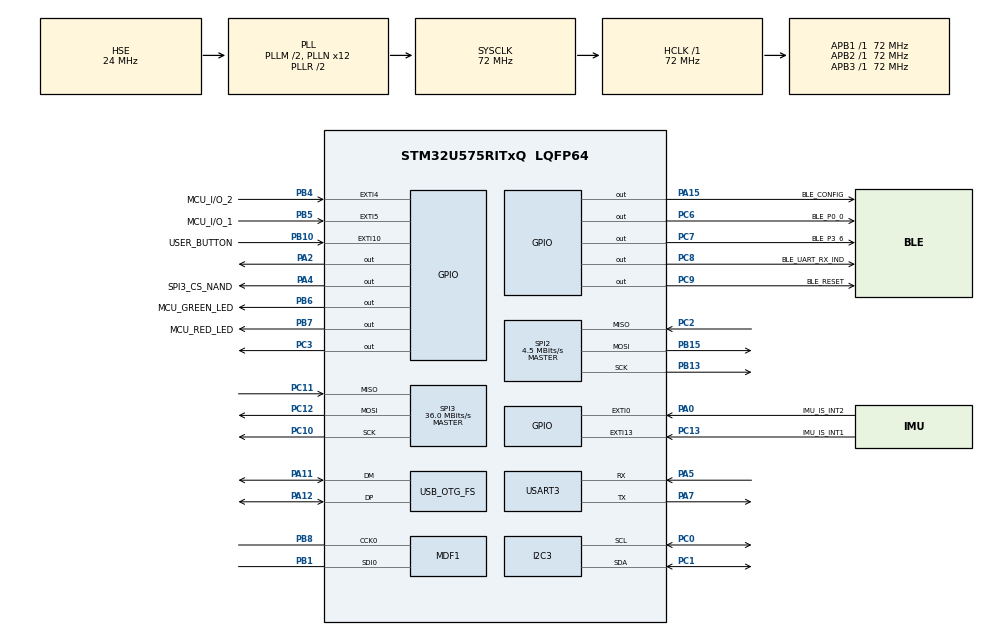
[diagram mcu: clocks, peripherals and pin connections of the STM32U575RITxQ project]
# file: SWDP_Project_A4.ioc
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CORTEX_M33_NS.userName=CORTEX_M33
GPDMA1.IPHANDLE_GPDMACH0-SIMPLEREQUEST_GPDMACH0=__NULL
GPDMA1.IPHANDLE_GPDMACH1-SIMPLEREQUEST_GPDMACH1=__NULL
GPDMA1.REQUEST_GPDMACH0=GPDMA1_REQUEST_I2C3_RX
GPDMA1.REQUEST_GPDMACH1=GPDMA1_REQUEST_I2C3_TX
I2C3.Timing=0x10808DD3
MDF1.MDF_COMPARAM_ActivationClockTrigger=ENABLE
MDF1.MDF_COMPARAM_ActivationOutputClock=ENABLE
MDF1.MDF_COMPARAM_Divider=5
MDF1.MDF_COMPARAM_Pins=MDF_OUTPUT_CLOCK_ALL
MDF1.MDF_DFLT0_AcquisitionMode=MDF_MODE_SYNC_CONT
MDF1.MDF_DFLT0_CIC_Mode=MDF_ONE_FILTER_SINC5
MDF1.MDF_DFLT0_Decimation=16
MDF1.MDF_DFLT0_DiscardSamples=255
MDF1.MDF_DFLT0_Gain=1
MDF1.MDF_DFLT0_HighPassFilterActivation=ENABLE
MDF1.MDF_DFLT0_ReshapeFilterActivation=ENABLE
MDF1.MDF_SITF0_Mode_Display=MDF_SITF_NORMAL_SPI_MODE
MDF1.MDF_SITF0_Threshold=31
Mcu.Family=STM32U5
Mcu.Name=STM32U575RITxQ
Mcu.Package=LQFP64
NVIC.EXTI0_IRQn=true\:0\:0\:false\:false\:true\:true\:true\:true
NVIC.EXTI10_IRQn=true\:0\:0\:false\:false\:true\:true\:true\:true
NVIC.EXTI13_IRQn=true\:0\:0\:false\:false\:true\:true\:true\:true
NVIC.EXTI4_IRQn=true\:0\:0\:false\:false\:true\:true\:true\:true
NVIC.EXTI5_IRQn=true\:0\:0\:false\:false\:true\:true\:true\:true
NVIC.GPDMA1_Channel0_IRQn=true\:0\:0\:false\:false\:true\:false\:true\:true
NVIC.GPDMA1_Channel1_IRQn=true\:0\:0\:false\:false\:true\:false\:true\:true
NVIC.I2C3_ER_IRQn=true\:0\:0\:false\:false\:true\:true\:true\:true
NVIC.I2C3_EV_IRQn=true\:0\:0\:false\:false\:true\:true\:true\:true
NVIC.MDF1_FLT0_IRQn=true\:0\:0\:false\:false\:true\:true\:true\:true
NVIC.OTG_FS_IRQn=true\:0\:0\:false\:false\:true\:true\:true\:true
NVIC.PriorityGroup=NVIC_PRIORITYGROUP_4
NVIC.SPI2_IRQn=true\:0\:0\:false\:false\:true\:true\:true\:true
NVIC.SPI3_IRQn=true\:0\:0\:false\:false\:true\:true\:true\:true
NVIC.TIM2_IRQn=true\:2\:0\:true\:false\:true\:true\:true\:true
NVIC.USART3_IRQn=true\:0\:0\:false\:false\:true\:true\:true\:true
PA0.GPIO_Label=IMU_IS_INT2
PA0.Signal=GPXTI0
PA11.GPIO_Speed=GPIO_SPEED_FREQ_VERY_HIGH
PA11.Mode=Device_Only
PA11.Signal=USB_OTG_FS_DM
PA12.GPIO_Speed=GPIO_SPEED_FREQ_VERY_HIGH
PA12.Mode=Device_Only
PA12.Signal=USB_OTG_FS_DP
PA13\ (JTMS/SWDIO).Mode=Trace_Asynchronous_SW
PA13\ (JTMS/SWDIO).Signal=DEBUG_JTMS-SWDIO
PA14\ (JTCK/SWCLK).Mode=Trace_Asynchronous_SW
PA14\ (JTCK/SWCLK).Signal=DEBUG_JTCK-SWCLK
PA15\ (JTDI).GPIO_Label=BLE_CONFIG
PA15\ (JTDI).PinState=GPIO_PIN_SET
PA15\ (JTDI).Signal=GPIO_Output
PA2.Signal=GPIO_Output
PA4.GPIO_Label=SPI3_CS_NAND
PA4.Signal=GPIO_Output
PA5.Mode=Asynchronous
PA5.Signal=USART3_RX
PA7.Mode=Asynchronous
PA7.Signal=USART3_TX
PA9.Signal=USB_OTG_FS_VBUS
PB1.GPIO_Speed=GPIO_SPEED_FREQ_VERY_HIGH
PB1.Mode=MOD_MDF_SITF0_CCK0
PB1.Signal=MDF1_SDI0
PB10.GPIO_Label=USER_BUTTON
PB10.GPIO_ModeDefaultEXTI=GPIO_MODE_IT_RISING_FALLING
PB10.GPIO_PuPd=GPIO_PULLDOWN
PB10.Signal=GPXTI10
PB13.Mode=Full_Duplex_Master
PB13.Signal=SPI2_SCK
PB15.Mode=Full_Duplex_Master
PB15.Signal=SPI2_MOSI
PB3\ (JTDO/TRACESWO).Mode=Trace_Asynchronous_SW
PB3\ (JTDO/TRACESWO).Signal=DEBUG_JTDO-SWO
PB4\ (NJTRST).GPIO_Label=MCU_I/O_2
PB4\ (NJTRST).Signal=GPXTI4
PB5.GPIO_Label=MCU_I/O_1
PB5.Signal=GPXTI5
PB6.GPIO_Label=MCU_GREEN_LED
PB6.Signal=GPIO_Output
PB7.GPIO_Label=MCU_RED_LED
PB7.Signal=GPIO_Output
PB8.GPIO_FM8=SYSCFG_FASTMODEPLUS_PB8
PB8.GPIO_Speed=GPIO_SPEED_FREQ_VERY_HIGH
PB8.Mode=MOD_MDF_CCK0
PB8.Signal=MDF1_CCK0
PC0.Mode=I2C
PC0.Signal=I2C3_SCL
PC1.Mode=I2C
PC1.Signal=I2C3_SDA
PC10.Mode=Full_Duplex_Master
PC10.Signal=SPI3_SCK
PC11.Mode=Full_Duplex_Master
PC11.Signal=SPI3_MISO
PC12.Mode=Full_Duplex_Master
PC12.Signal=SPI3_MOSI
PC13.GPIO_Label=IMU_IS_INT1
PC13.Signal=GPXTI13
PC14-OSC32_IN\ (PC14).Mode=LSE-External-Oscillator
PC14-OSC32_IN\ (PC14).Signal=RCC_OSC32_IN
PC15-OSC32_OUT\ (PC15).Mode=LSE-External-Oscillator
PC15-OSC32_OUT\ (PC15).Signal=RCC_OSC32_OUT
PC2.Mode=Full_Duplex_Master
PC2.Signal=SPI2_MISO
PC3.Signal=GPIO_Output
PC6.GPIO_Label=BLE_P0_0
PC6.Signal=GPIO_Output
PC7.GPIO_Label=BLE_P3_6
PC7.Signal=GPIO_Output
PC8.GPIO_Label=BLE_UART_RX_IND
PC8.Signal=GPIO_Output
PC9.GPIO_Label=BLE_RESET
PC9.Signal=GPIO_Output
PH0-OSC_IN\ (PH0).Mode=HSE-External-Oscillator
PH0-OSC_IN\ (PH0).Signal=RCC_OSC_IN
PH1-OSC_OUT\ (PH1).Mode=HSE-External-Oscillator
PH1-OSC_OUT\ (PH1).Signal=RCC_OSC_OUT
ProjectManager.HeapSize=0x400
ProjectManager.StackSize=0x800
ProjectManager.TargetToolchain=CMake
RCC.ADCFreq_Value=16000000
RCC.AHBFreq_Value=72000000
RCC.APB1Freq_Value=72000000
RCC.APB1TimFreq_Value=72000000
RCC.APB2Freq_Value=72000000
RCC.APB2TimFreq_Value=72000000
RCC.APB3Freq_Value=72000000
RCC.CK48CLockSelection=RCC_CLK48CLKSOURCE_PLL1
RCC.CortexFreq_Value=72000000
RCC.EPOD_VALUE=24000000
RCC.HCLKFreq_Value=72000000
RCC.HSE_VALUE=24000000
RCC.HSI48_VALUE=48000000
RCC.HSI_VALUE=16000000
RCC.LSIDIV_VALUE=32000
RCC.MSIClockRange=RCC_MSIRANGE_0
RCC.MSI_VALUE=48000000
RCC.MdfClockSelection=RCC_MDF1CLKSOURCE_PLL3
RCC.PLL1Q=3
RCC.PLL2FRACN=0
RCC.PLL3FRACN=0
RCC.PLL3M=3
RCC.PLL3N=48
RCC.PLL3Q=25
RCC.PLL3Source=RCC_PLLSOURCE_HSE
RCC.PLLFRACN=0
RCC.PLLM=2
RCC.PLLN=12
RCC.PLLSourceVirtual=RCC_PLLSOURCE_HSE
RCC.SYSCLKFreq_VALUE=72000000
RCC.SYSCLKSource=RCC_SYSCLKSOURCE_PLLCLK
RCC.USBFreq_Value=48000000
RCC.VCOOutputFreq_Value=144000000
SPI2.BaudRatePrescaler=SPI_BAUDRATEPRESCALER_16
SPI2.CalculateBaudRate=4.5 MBits/s
SPI2.DataSize=SPI_DATASIZE_8BIT
SPI2.Direction=SPI_DIRECTION_2LINES
SPI2.Mode=SPI_MODE_MASTER
SPI2.VirtualType=VM_MASTER
SPI3.CalculateBaudRate=36.0 MBits/s
SPI3.Direction=SPI_DIRECTION_2LINES
SPI3.Mode=SPI_MODE_MASTER
SPI3.VirtualType=VM_MASTER
STMicroelectronics.FP-SNS-STAIOTCFT.1.1.0.MathOoLibCcCMSISJjDSPJjInclude=true
STMicroelectronics.FP-SNS-STAIOTCFT.1.1.0.MathOoLibCcCMSISJjDSPJjLib=true
TIM2.PeriodNoDither=100-1
TIM2.Prescaler=7200-1
USART3.VirtualMode-Asynchronous=VM_ASYNC
USB_OTG_FS.VirtualMode=Device_Only
VP_GPDMA1_VS_GPDMACH0.Mode=SIMPLEREQUEST_GPDMACH0
VP_GPDMA1_VS_GPDMACH1.Mode=SIMPLEREQUEST_GPDMACH1
VP_ICACHE_VS_ENABLE_ICACHE_MEMORY.Mode=Memoryregions
VP_LPBAMQUEUE_VS_QUEUE.Mode=QUEUEMODE
VP_LPBAM_VS_SIG1.Mode=SmartRun
VP_LPBAM_VS_SIG4.Mode=LPDMA1
VP_MDF1_VS_MDF_DFLT0.Mode=MOD_MDF_DFLT0
VP_MEMORYMAP_VS_MEMORYMAP.Mode=CurAppReg
VP_PWR_VS_LPOM.Mode=PowerOptimisation
VP_PWR_VS_SECSignals.Mode=Security/Privilege
VP_STMicroelectronics.FP-SNS-STAIOTCFT_VS_CMSISJjMathOoLib_1.0.0_1.1.0.Mode=CMSISJjMathOoLib
VP_TIM2_VS_ClockSourceINT.Mode=Internal
board=custom

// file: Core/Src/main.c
/* USER CODE BEGIN Header */
/**
 ******************************************************************************
 * @file           : main.c
 * @brief          : Main application file for SWDP_Project_A4 project.
 ******************************************************************************
 * @functionality  : This firmware implements a complete Wearable Monitor.
 * @details        : The application operates using a State Machine triggered by a
 * single USER BUTTON. It performs three primary tasks:
 * 1. Real-time Acquisition: Reads Accelerometer/Gyroscope data
 * via I2C, synchronized by a TIM2 interrupt.
 * 2. Wireless Transmission: Sends data packets via Bluetooth Low Energy (BLE)
 * using the UART interface.
 * 3. Data Logging: Saves acquired data to NAND Flash memory.
 *
 * Saved data can be downloaded via a USB Virtual COM Port (VCP)
 * connection, also initiated by the USER BUTTON.
 *
 * @intended_use   : Starting template for Smart Wearables Course
 * exploring IMU interfacing, BLE communication, and memory management.
 ******************************************************************************
 */
/* USER CODE END Header */
#include "main.h"

/* USER CODE BEGIN Includes */
#include "../../USB_Device/App/usb_device.h"
#include "MAX30101_driver.h"
#include "MAX30205_driver.h"
#include "Memory_operations.h"
#include "SPI.h"
#include "SPI_NAND.h"
#include "bluetooth.h"
#include "imu_driver.h"
#include "led_driver.h"
#include "ppg_filter.h"
#include "stdio.h"
#include "string.h"
#include "vitals_processing.h"
#include <stdint.h>

/* USER CODE END Includes */

I2C_HandleTypeDef hi2c3;
DMA_HandleTypeDef handle_GPDMA1_Channel1;
DMA_HandleTypeDef handle_GPDMA1_Channel0;

MDF_HandleTypeDef MdfHandle0;
MDF_FilterConfigTypeDef MdfFilterConfig0;

SPI_HandleTypeDef hspi2;
SPI_HandleTypeDef hspi3;

TIM_HandleTypeDef htim2;

UART_HandleTypeDef huart3;

PCD_HandleTypeDef hpcd_USB_OTG_FS;

/* USER CODE BEGIN PV */

// --- State Machine ---
// The current state of the application. Initial state is IDLE.
static AppState current_state = STATE_IDLE;

// --- Global Flags and Variables ---
// Flag to indicate a USB connection event.
// Set to 1 when a USB connection is detected.
uint8_t usb_flag = 0;

// IMU data structures for accelerometer and gyroscope.

static IMU_Data accelerometer_data;
static IMU_Data gyroscope_data;

uint8_t raw_accelerometer[6] = {0};
uint8_t raw_gyroscope[6] = {0};
// Health data
static HEALTH_data hr_data[NUMBER_OF_ACTIVE_LEDS][32];
static float skin_temp;

uint8_t raw_health[3 * NUMBER_OF_ACTIVE_LEDS * 32] = {0};
uint8_t raw_temp[2];

uint16_t skin_timer = 0;
static uint8_t temp_conversion_in_progress = 0;

// Risultati correnti dei vitali calcolati in hardware
static Vitals_Results vitals_results;

uint8_t read_ptr_fifo;

/// ----- NAND FLASH variables ----- ///

uint8_t NAND_packet[4096] = {0};
uint16_t sample = 0;
uint16_t blocco_scritto = 0;
uint8_t pagina_scritta = 0;
uint16_t b = 0;

read_address_t blocco;
column_address_t colonna = 0;

uint16_t bad_blocks[2048] = {-1}; // bad blocks array for writing/reading
uint8_t bad_blocks2[2048] = {0};  // bad blocks array for erasing

uint8_t data_letto[4096] = {0};
int exit_flag = 0;

// Timestamp variables //
Time_Struct timestamp;
uint16_t tim = 0;

volatile uint8_t timer_data_ready_count = 0;

/* USER CODE END PV */

void SystemClock_Config(void);
static void MX_GPIO_Init(void);
static void MX_GPDMA1_Init(void);
static void MX_ICACHE_Init(void);
static void MX_I2C3_Init(void);
static void MX_USART3_UART_Init(void);
static void MX_USB_OTG_FS_PCD_Init(void);
static void MX_MDF1_Init(void);
static void MX_TIM2_Init(void);
static void MX_SPI3_Init(void);
static void MX_SPI2_Init(void);

int main(void) {

	/* MCU Configuration--------------------------------------------------------*/

	/* Reset of all peripherals, Initializes the Flash interface and the Systick. */
	HAL_Init();

	/* Configure the system clock */
	SystemClock_Config();

	/* Initialize all configured peripherals */
	MX_GPIO_Init();
	MX_GPDMA1_Init();
	MX_ICACHE_Init();
	MX_I2C3_Init();
	MX_USART3_UART_Init();
	MX_USB_OTG_FS_PCD_Init();
	MX_MDF1_Init();
	MX_TIM2_Init();
	MX_SPI3_Init();
	MX_SPI2_Init();
	/* USER CODE BEGIN 2 */

	// Turn the RED LED on to indicate the start of the initialization process
	LED_On(LED_RED);

	// Initialize all hardware peripherals (ble, usb, nand flash, imu)
	BLE_Initialize();
	PPG_Filter_Init();
	Vitals_Init();
	MX_USB_Device_Init();
	HAL_Delay(1000);

	spi_nand_init();
	memset(bad_blocks, 0xFF, sizeof(bad_blocks)); // correctly init all elements to 0xFFFF
	find_bad_blocks(bad_blocks);				  // find bad_blocks and save them

	if (IMU_Init() == 1) {
		IMU_ConfigAccelerometer(ACC_ODR_104HZ, ACC_FS_4G, 1);
		IMU_ConfigGyroscope(GYR_ODR_104HZ, GYR_FS_250DPS, 1);
	} else {
		LED_Toggle(LED_RED);
		HAL_Delay(500);
		LED_Toggle(LED_RED);
		HAL_Delay(500);
		LED_Toggle(LED_RED);
		HAL_Delay(500);
		LED_Toggle(LED_RED);
		HAL_Delay(500);
		LED_Toggle(LED_RED);
		HAL_Delay(500);
		LED_Toggle(LED_RED);
		HAL_Delay(500);
	}

	if (MAX30101_Init() == 1) {
		uint8_t conf_fifo, conf_mode, spo2_conf, conf_led_pulse[LED_PULSE_N_REG], conf_multi_led[MULTI_LED_N_REG];
		conf_fifo = 0b00010000;
		conf_mode = 0b00000011;
		// spo2_conf = 0b01110000;
		// modifica ADC resolution a 16 bit a 800Hz
		spo2_conf = 0b01110001;
		// conf_led_pulse[0] = 0x3F;
		// conf_led_pulse[1] = 0x3F;
		// modificare da 12mA a 6mA -> come ha consigliato Ilaria
		conf_led_pulse[0] = 0x1F;
		conf_led_pulse[1] = 0x1F;
		conf_led_pulse[2] = 0;
		conf_led_pulse[3] = 0;
		conf_multi_led[0] = 0b00010010;
		conf_multi_led[1] = 0;
		MAX30101_Mode_Config(conf_fifo, conf_mode, spo2_conf);
		MAX30101_LED_Config(conf_led_pulse, conf_multi_led);
	} else {
		LED_Toggle(LED_RED);
		HAL_Delay(500);
		LED_Toggle(LED_GREEN);
		HAL_Delay(500);
		LED_Toggle(LED_RED);
		HAL_Delay(500);
		LED_Toggle(LED_GREEN);
		HAL_Delay(500);
		LED_Toggle(LED_RED);
		HAL_Delay(500);
		LED_Toggle(LED_GREEN);
		HAL_Delay(500);
	}

	{
		MAX30205_Init();
	}

	// Turn off the red LED to indicate that initialization is complete
	LED_Off(LED_RED);
	LED_Off(LED_GREEN);

	// Start acquisition immediately on power up
	MAX30101_Reset();
	skin_timer = 0;
	HAL_TIM_Base_Start_IT(&htim2);

	/* USER CODE END 2 */

	/* Infinite loop */
	/* USER CODE BEGIN WHILE */
	while (1) {
		if (timer_data_ready_count > 0) {
			__disable_irq();
			timer_data_ready_count--;
			__enable_irq();

			// --- Update Timestamp ---        // Fetch real time in milliseconds to avoid time compression from dropped ticks
			uint32_t current_ms = HAL_GetTick();
			timestamp.hh = (current_ms / 3600000) % 24;
			timestamp.mm = (current_ms / 60000) % 60;
			timestamp.ss = (current_ms / 1000) % 60;
			timestamp.sss = current_ms % 1000;

			// --- Data Acquisition ---
			if (skin_timer == 0) {
				MAX30205_Start_Conversion();
				temp_conversion_in_progress = 1;
			}

			if (temp_conversion_in_progress) {
				uint8_t temp_status = MAX30205_Read_Temp(&skin_temp, raw_temp);
				if (temp_status == MAX30205_STATUS_OK || temp_status == MAX30205_STATUS_ERROR || skin_timer > 20) {
					temp_conversion_in_progress = 0;
				}
			}

			// Read and transmit IMU at 100Hz (every loop iteration)
			IMU_ReadAccelerometerData(&accelerometer_data, raw_accelerometer);
			IMU_ReadGyroscopeData(&gyroscope_data, raw_gyroscope);

			uint8_t imu_payload[12];
			memcpy(&imu_payload[0], raw_accelerometer, 6);
			memcpy(&imu_payload[6], raw_gyroscope, 6);

			BLE_SendPacket(DATA_TYPE_IMU_COMBINED, imu_payload, 12);

			if (current_state == STATE_ACQUISITION) {
				write_packet(DATA_TYPE_IMU_COMBINED, timestamp, imu_payload, 12);
			}

			uint8_t available_samples = MAX30101_Read_Data(hr_data, raw_health, &read_ptr_fifo);

			if (skin_timer >= 1000)
				skin_timer = 0;
			else
				skin_timer++;

			for (int i = 0; i < available_samples; i++) {
				uint8_t sample_idx = (read_ptr_fifo - available_samples + i + 32) % 32;
				uint32_t raw_red_sample = hr_data[0][sample_idx];
				uint32_t raw_ir_sample = hr_data[1][sample_idx];

				// --- DSP Vitals Processing ---
				float32_t ppg_filtered_red = 0.0f;
				float32_t ppg_filtered_ir = 0.0f;
				PPG_Filter_ProcessSamples((float32_t)raw_red_sample, (float32_t)raw_ir_sample, &ppg_filtered_red, &ppg_filtered_ir);

				Vitals_ProcessSample(raw_red_sample, raw_ir_sample, ppg_filtered_red, ppg_filtered_ir);

				ppg_filtered_ir = -ppg_filtered_ir; // Invert for BLE morphology

				// --- BLE Transmission (Grouped by Frequency) ---

				// 25 Hz: PPG BLE transmission (decimated by 32 from 800Hz)
				static uint8_t ble_ppg_decimation = 0;
				ble_ppg_decimation++;
				if (ble_ppg_decimation >= 32) {
					ble_ppg_decimation = 0;
					BLE_SendPacket(DATA_TYPE_PPG, (uint8_t *)&ppg_filtered_ir, sizeof(ppg_filtered_ir));
				}

				// 800 Hz: PPG Logging in Memory
				if (current_state == STATE_ACQUISITION) {
					write_packet(DATA_TYPE_PPG, timestamp, (uint8_t *)&ppg_filtered_ir, sizeof(ppg_filtered_ir));
				}

				// 1 Hz: HR
				static uint16_t vitals_read_counter = 0;
				vitals_read_counter++;
				if (vitals_read_counter >= 800) {
					vitals_read_counter = 0;
					Vitals_GetAllResults(&vitals_results);
					if (vitals_results.hr_valid) {
						BLE_SendPacket(DATA_TYPE_HR, (uint8_t *)&vitals_results.hr_bpm, sizeof(float));
						if (current_state == STATE_ACQUISITION) {
							write_packet(DATA_TYPE_HR, timestamp, (uint8_t *)&vitals_results.hr_bpm, sizeof(float));
						}
					}
				}

				// 0.2 Hz (ogni 5s): SpO2, HRV SDNN, HRV RMSSD, RR, Temp
				static uint16_t slow_vitals_report_counter = 0;
				slow_vitals_report_counter++;
				if (slow_vitals_report_counter >= 4000) {
					slow_vitals_report_counter = 0;
					Vitals_GetAllResults(&vitals_results);

					uint8_t slow_payload[14] = {0};
					if (vitals_results.spo2_valid) memcpy(&slow_payload[0], &vitals_results.spo2_percent, 4);
					if (vitals_results.hrv_valid) {
						memcpy(&slow_payload[4], &vitals_results.hrv_sdnn_ms, 4);
						memcpy(&slow_payload[8], &vitals_results.hrv_rmssd_ms, 4);
					}
					memcpy(&slow_payload[12], raw_temp, 2);

					BLE_SendPacket(DATA_TYPE_SLOW_VITALS, slow_payload, 14);
					if (current_state == STATE_ACQUISITION) {
						write_packet(DATA_TYPE_SLOW_VITALS, timestamp, slow_payload, 14);
					}
				}
			}
		} // end timer_data_ready_count

		/* USER CODE END WHILE */

		/* USER CODE BEGIN 3 */

		switch (current_state) {
		case STATE_IDLE:
			// Check if a USB connection has been detected
			if (!usb_flag) {
				// MX_USB_Device_Init();
			} else {
				// Transition to the USB_CONNECTED state
				current_state = STATE_USB_CONNECTED;
				// Green LED on upon USB Connection
				LED_On(LED_GREEN);
				LED_On(LED_RED);
			}
			break;

		case STATE_ACQUISITION:
			// All data acquisition is handled by the timer flag above
			break;

		case STATE_USB_CONNECTED:
			break;

		case STATE_DOWNLOAD:

			// This state manages reading data blocks and sending them via USB.
			// Once download is complete, the state returns to USB_CONNECTED.
			// Read data packets from memory
			read_memory_and_transmit();

			current_state = STATE_USB_CONNECTED;
			break;
		}

		__WFI(); // Enter low power sleep until the next interrupt wakes the CPU
	}
	/* USER CODE END 3 */
}

void SystemClock_Config(void) {
	RCC_OscInitTypeDef RCC_OscInitStruct = {0};
	RCC_ClkInitTypeDef RCC_ClkInitStruct = {0};

	/** Configure the main internal regulator output voltage
	 */
	if (HAL_PWREx_ControlVoltageScaling(PWR_REGULATOR_VOLTAGE_SCALE2) != HAL_OK) {
		Error_Handler();
	}

	/** Initializes the CPU, AHB and APB buses clocks
	 */
	RCC_OscInitStruct.OscillatorType = RCC_OSCILLATORTYPE_HSE;
	RCC_OscInitStruct.HSEState = RCC_HSE_ON;
	RCC_OscInitStruct.PLL.PLLState = RCC_PLL_ON;
	RCC_OscInitStruct.PLL.PLLSource = RCC_PLLSOURCE_HSE;
	RCC_OscInitStruct.PLL.PLLMBOOST = RCC_PLLMBOOST_DIV2;
	RCC_OscInitStruct.PLL.PLLM = 2;
	RCC_OscInitStruct.PLL.PLLN = 12;
	RCC_OscInitStruct.PLL.PLLP = 2;
	RCC_OscInitStruct.PLL.PLLQ = 3;
	RCC_OscInitStruct.PLL.PLLR = 2;
	RCC_OscInitStruct.PLL.PLLRGE = RCC_PLLVCIRANGE_1;
	RCC_OscInitStruct.PLL.PLLFRACN = 0;
	if (HAL_RCC_OscConfig(&RCC_OscInitStruct) != HAL_OK) {
		Error_Handler();
	}

	/** Initializes the CPU, AHB and APB buses clocks
	 */
	RCC_ClkInitStruct.ClockType = RCC_CLOCKTYPE_HCLK | RCC_CLOCKTYPE_SYSCLK | RCC_CLOCKTYPE_PCLK1 | RCC_CLOCKTYPE_PCLK2 | RCC_CLOCKTYPE_PCLK3;
	RCC_ClkInitStruct.SYSCLKSource = RCC_SYSCLKSOURCE_PLLCLK;
	RCC_ClkInitStruct.AHBCLKDivider = RCC_SYSCLK_DIV1;
	RCC_ClkInitStruct.APB1CLKDivider = RCC_HCLK_DIV1;
	RCC_ClkInitStruct.APB2CLKDivider = RCC_HCLK_DIV1;
	RCC_ClkInitStruct.APB3CLKDivider = RCC_HCLK_DIV1;

	if (HAL_RCC_ClockConfig(&RCC_ClkInitStruct, FLASH_LATENCY_2) != HAL_OK) {
		Error_Handler();
	}
}

static void MX_GPDMA1_Init(void) {

	/* Peripheral clock enable */
	__HAL_RCC_GPDMA1_CLK_ENABLE();

	/* GPDMA1 interrupt Init */
	HAL_NVIC_SetPriority(GPDMA1_Channel0_IRQn, 0, 0);
	HAL_NVIC_EnableIRQ(GPDMA1_Channel0_IRQn);
	HAL_NVIC_SetPriority(GPDMA1_Channel1_IRQn, 0, 0);
	HAL_NVIC_EnableIRQ(GPDMA1_Channel1_IRQn);

}

static void MX_I2C3_Init(void) {

	hi2c3.Instance = I2C3;
	hi2c3.Init.Timing = 0x10808DD3;
	hi2c3.Init.OwnAddress1 = 0;
	hi2c3.Init.AddressingMode = I2C_ADDRESSINGMODE_7BIT;
	hi2c3.Init.DualAddressMode = I2C_DUALADDRESS_DISABLE;
	hi2c3.Init.OwnAddress2 = 0;
	hi2c3.Init.OwnAddress2Masks = I2C_OA2_NOMASK;
	hi2c3.Init.GeneralCallMode = I2C_GENERALCALL_DISABLE;
	hi2c3.Init.NoStretchMode = I2C_NOSTRETCH_DISABLE;
	if (HAL_I2C_Init(&hi2c3) != HAL_OK) {
		Error_Handler();
	}

	/** Configure Analogue filter
	 */
	if (HAL_I2CEx_ConfigAnalogFilter(&hi2c3, I2C_ANALOGFILTER_ENABLE) != HAL_OK) {
		Error_Handler();
	}

	/** Configure Digital filter
	 */
	if (HAL_I2CEx_ConfigDigitalFilter(&hi2c3, 0) != HAL_OK) {
		Error_Handler();
	}
}

static void MX_ICACHE_Init(void) {

}

static void MX_MDF1_Init(void) {

	/**
	  MdfHandle0 structure initialization and HAL_MDF_Init function call
	*/
	MdfHandle0.Instance = MDF1_Filter0;
	MdfHandle0.Init.CommonParam.InterleavedFilters = 0;
	MdfHandle0.Init.CommonParam.ProcClockDivider = 1;
	MdfHandle0.Init.CommonParam.OutputClock.Activation = ENABLE;
	MdfHandle0.Init.CommonParam.OutputClock.Pins = MDF_OUTPUT_CLOCK_ALL;
	MdfHandle0.Init.CommonParam.OutputClock.Divider = 5;
	MdfHandle0.Init.CommonParam.OutputClock.Trigger.Activation = ENABLE;
	MdfHandle0.Init.CommonParam.OutputClock.Trigger.Source = MDF_CLOCK_TRIG_TRGO;
	MdfHandle0.Init.CommonParam.OutputClock.Trigger.Edge = MDF_CLOCK_TRIG_FALLING_EDGE;
	MdfHandle0.Init.SerialInterface.Activation = ENABLE;
	MdfHandle0.Init.SerialInterface.Mode = MDF_SITF_NORMAL_SPI_MODE;
	MdfHandle0.Init.SerialInterface.ClockSource = MDF_SITF_CCK0_SOURCE;
	MdfHandle0.Init.SerialInterface.Threshold = 31;
	MdfHandle0.Init.FilterBistream = MDF_BITSTREAM0_RISING;
	if (HAL_MDF_Init(&MdfHandle0) != HAL_OK) {
		Error_Handler();
	}

	/**
	  MdfFilterConfig0, MdfOldConfig0 and/or MdfScdConfig0 structures initialization

	  WARNING : only structures are filled, no specific init function call for filter
	*/
	MdfFilterConfig0.DataSource = MDF_DATA_SOURCE_BSMX;
	MdfFilterConfig0.Delay = 0;
	MdfFilterConfig0.CicMode = MDF_ONE_FILTER_SINC5;
	MdfFilterConfig0.DecimationRatio = 16;
	MdfFilterConfig0.Offset = 0;
	MdfFilterConfig0.Gain = 1;
	MdfFilterConfig0.ReshapeFilter.Activation = ENABLE;
	MdfFilterConfig0.ReshapeFilter.DecimationRatio = MDF_RSF_DECIMATION_RATIO_4;
	MdfFilterConfig0.HighPassFilter.Activation = ENABLE;
	MdfFilterConfig0.HighPassFilter.CutOffFrequency = MDF_HPF_CUTOFF_0_000625FPCM;
	MdfFilterConfig0.Integrator.Activation = DISABLE;
	MdfFilterConfig0.SoundActivity.Activation = DISABLE;
	MdfFilterConfig0.AcquisitionMode = MDF_MODE_SYNC_CONT;
	MdfFilterConfig0.FifoThreshold = MDF_FIFO_THRESHOLD_NOT_EMPTY;
	MdfFilterConfig0.DiscardSamples = 255;
	MdfFilterConfig0.Trigger.Source = MDF_CLOCK_TRIG_TRGO;
	MdfFilterConfig0.Trigger.Edge = MDF_FILTER_TRIG_RISING_EDGE;
}

static void MX_SPI2_Init(void) {

	SPI_AutonomousModeConfTypeDef HAL_SPI_AutonomousMode_Cfg_Struct = {0};

	/* SPI2 parameter configuration*/
	hspi2.Instance = SPI2;
	hspi2.Init.Mode = SPI_MODE_MASTER;
	hspi2.Init.Direction = SPI_DIRECTION_2LINES;
	hspi2.Init.DataSize = SPI_DATASIZE_8BIT;
	hspi2.Init.CLKPolarity = SPI_POLARITY_LOW;
	hspi2.Init.CLKPhase = SPI_PHASE_1EDGE;
	hspi2.Init.NSS = SPI_NSS_SOFT;
	hspi2.Init.BaudRatePrescaler = SPI_BAUDRATEPRESCALER_16;
	hspi2.Init.FirstBit = SPI_FIRSTBIT_MSB;
	hspi2.Init.TIMode = SPI_TIMODE_DISABLE;
	hspi2.Init.CRCCalculation = SPI_CRCCALCULATION_DISABLE;
	hspi2.Init.CRCPolynomial = 0x7;
	hspi2.Init.NSSPMode = SPI_NSS_PULSE_ENABLE;
	hspi2.Init.NSSPolarity = SPI_NSS_POLARITY_LOW;
	hspi2.Init.FifoThreshold = SPI_FIFO_THRESHOLD_01DATA;
	hspi2.Init.MasterSSIdleness = SPI_MASTER_SS_IDLENESS_00CYCLE;
	hspi2.Init.MasterInterDataIdleness = SPI_MASTER_INTERDATA_IDLENESS_00CYCLE;
	hspi2.Init.MasterReceiverAutoSusp = SPI_MASTER_RX_AUTOSUSP_DISABLE;
	hspi2.Init.MasterKeepIOState = SPI_MASTER_KEEP_IO_STATE_DISABLE;
	hspi2.Init.IOSwap = SPI_IO_SWAP_DISABLE;
	hspi2.Init.ReadyMasterManagement = SPI_RDY_MASTER_MANAGEMENT_INTERNALLY;
	hspi2.Init.ReadyPolarity = SPI_RDY_POLARITY_HIGH;
	if (HAL_SPI_Init(&hspi2) != HAL_OK) {
		Error_Handler();
	}
	HAL_SPI_AutonomousMode_Cfg_Struct.TriggerState = SPI_AUTO_MODE_DISABLE;
	HAL_SPI_AutonomousMode_Cfg_Struct.TriggerSelection = SPI_GRP1_GPDMA_CH0_TCF_TRG;
	HAL_SPI_AutonomousMode_Cfg_Struct.TriggerPolarity = SPI_TRIG_POLARITY_RISING;
	if (HAL_SPIEx_SetConfigAutonomousMode(&hspi2, &HAL_SPI_AutonomousMode_Cfg_Struct) != HAL_OK) {
		Error_Handler();
	}
}

static void MX_SPI3_Init(void) {

	SPI_AutonomousModeConfTypeDef HAL_SPI_AutonomousMode_Cfg_Struct = {0};

	/* SPI3 parameter configuration*/
	hspi3.Instance = SPI3;
	hspi3.Init.Mode = SPI_MODE_MASTER;
	hspi3.Init.Direction = SPI_DIRECTION_2LINES;
	hspi3.Init.DataSize = SPI_DATASIZE_8BIT;
	hspi3.Init.CLKPolarity = SPI_POLARITY_LOW;
	hspi3.Init.CLKPhase = SPI_PHASE_1EDGE;
	hspi3.Init.NSS = SPI_NSS_SOFT;
	hspi3.Init.BaudRatePrescaler = SPI_BAUDRATEPRESCALER_2;
	hspi3.Init.FirstBit = SPI_FIRSTBIT_MSB;
	hspi3.Init.TIMode = SPI_TIMODE_DISABLE;
	hspi3.Init.CRCCalculation = SPI_CRCCALCULATION_DISABLE;
	hspi3.Init.CRCPolynomial = 0x7;
	hspi3.Init.NSSPMode = SPI_NSS_PULSE_ENABLE;
	hspi3.Init.NSSPolarity = SPI_NSS_POLARITY_LOW;
	hspi3.Init.FifoThreshold = SPI_FIFO_THRESHOLD_01DATA;
	hspi3.Init.MasterSSIdleness = SPI_MASTER_SS_IDLENESS_00CYCLE;
	hspi3.Init.MasterInterDataIdleness = SPI_MASTER_INTERDATA_IDLENESS_00CYCLE;
	hspi3.Init.MasterReceiverAutoSusp = SPI_MASTER_RX_AUTOSUSP_DISABLE;
	hspi3.Init.MasterKeepIOState = SPI_MASTER_KEEP_IO_STATE_DISABLE;
	hspi3.Init.IOSwap = SPI_IO_SWAP_DISABLE;
	hspi3.Init.ReadyMasterManagement = SPI_RDY_MASTER_MANAGEMENT_INTERNALLY;
	hspi3.Init.ReadyPolarity = SPI_RDY_POLARITY_HIGH;
	if (HAL_SPI_Init(&hspi3) != HAL_OK) {
		Error_Handler();
	}
	HAL_SPI_AutonomousMode_Cfg_Struct.TriggerState = SPI_AUTO_MODE_DISABLE;
	HAL_SPI_AutonomousMode_Cfg_Struct.TriggerSelection = SPI_GRP2_LPDMA_CH0_TCF_TRG;
	HAL_SPI_AutonomousMode_Cfg_Struct.TriggerPolarity = SPI_TRIG_POLARITY_RISING;
	if (HAL_SPIEx_SetConfigAutonomousMode(&hspi3, &HAL_SPI_AutonomousMode_Cfg_Struct) != HAL_OK) {
		Error_Handler();
	}
}

static void MX_TIM2_Init(void) {

	TIM_ClockConfigTypeDef sClockSourceConfig = {0};
	TIM_MasterConfigTypeDef sMasterConfig = {0};

	htim2.Instance = TIM2;
	htim2.Init.Prescaler = 7200 - 1;
	htim2.Init.CounterMode = TIM_COUNTERMODE_UP;
	htim2.Init.Period = 99;
	htim2.Init.ClockDivision = TIM_CLOCKDIVISION_DIV1;
	htim2.Init.AutoReloadPreload = TIM_AUTORELOAD_PRELOAD_DISABLE;
	if (HAL_TIM_Base_Init(&htim2) != HAL_OK) {
		Error_Handler();
	}
	sClockSourceConfig.ClockSource = TIM_CLOCKSOURCE_INTERNAL;
	if (HAL_TIM_ConfigClockSource(&htim2, &sClockSourceConfig) != HAL_OK) {
		Error_Handler();
	}
	sMasterConfig.MasterOutputTrigger = TIM_TRGO_RESET;
	sMasterConfig.MasterSlaveMode = TIM_MASTERSLAVEMODE_DISABLE;
	if (HAL_TIMEx_MasterConfigSynchronization(&htim2, &sMasterConfig) != HAL_OK) {
		Error_Handler();
	}
}

static void MX_USART3_UART_Init(void) {

	huart3.Instance = USART3;
	huart3.Init.BaudRate = 115200;
	huart3.Init.WordLength = UART_WORDLENGTH_8B;
	huart3.Init.StopBits = UART_STOPBITS_1;
	huart3.Init.Parity = UART_PARITY_NONE;
	huart3.Init.Mode = UART_MODE_TX_RX;
	huart3.Init.HwFlowCtl = UART_HWCONTROL_NONE;
	huart3.Init.OverSampling = UART_OVERSAMPLING_16;
	huart3.Init.OneBitSampling = UART_ONE_BIT_SAMPLE_DISABLE;
	huart3.Init.ClockPrescaler = UART_PRESCALER_DIV1;
	huart3.AdvancedInit.AdvFeatureInit = UART_ADVFEATURE_NO_INIT;
	if (HAL_UART_Init(&huart3) != HAL_OK) {
		Error_Handler();
	}
	if (HAL_UARTEx_SetTxFifoThreshold(&huart3, UART_TXFIFO_THRESHOLD_1_8) != HAL_OK) {
		Error_Handler();
	}
	if (HAL_UARTEx_SetRxFifoThreshold(&huart3, UART_RXFIFO_THRESHOLD_1_8) != HAL_OK) {
		Error_Handler();
	}
	if (HAL_UARTEx_DisableFifoMode(&huart3) != HAL_OK) {
		Error_Handler();
	}
}

static void MX_USB_OTG_FS_PCD_Init(void) {

	hpcd_USB_OTG_FS.Instance = USB_OTG_FS;
	hpcd_USB_OTG_FS.Init.dev_endpoints = 6;
	hpcd_USB_OTG_FS.Init.speed = PCD_SPEED_FULL;
	hpcd_USB_OTG_FS.Init.phy_itface = PCD_PHY_EMBEDDED;
	hpcd_USB_OTG_FS.Init.Sof_enable = DISABLE;
	hpcd_USB_OTG_FS.Init.low_power_enable = DISABLE;
	hpcd_USB_OTG_FS.Init.lpm_enable = DISABLE;
	hpcd_USB_OTG_FS.Init.battery_charging_enable = DISABLE;
	hpcd_USB_OTG_FS.Init.use_dedicated_ep1 = DISABLE;
	hpcd_USB_OTG_FS.Init.vbus_sensing_enable = DISABLE;
	hpcd_USB_OTG_FS.Init.dma_enable = DISABLE;
	if (HAL_PCD_Init(&hpcd_USB_OTG_FS) != HAL_OK) {
		Error_Handler();
	}
}

static void MX_GPIO_Init(void) {
	GPIO_InitTypeDef GPIO_InitStruct = {0};

	/* GPIO Ports Clock Enable */
	__HAL_RCC_GPIOC_CLK_ENABLE();
	__HAL_RCC_GPIOH_CLK_ENABLE();
	__HAL_RCC_GPIOA_CLK_ENABLE();
	__HAL_RCC_GPIOB_CLK_ENABLE();

	/*Configure GPIO pin Output Level */
	HAL_GPIO_WritePin(GPIOC, GPIO_PIN_3 | BLE_P0_0_Pin | BLE_P3_6_Pin | BLE_UART_RX_IND_Pin | BLE_RESET_Pin, GPIO_PIN_RESET);

	/*Configure GPIO pin Output Level */
	HAL_GPIO_WritePin(GPIOA, GPIO_PIN_2 | SPI3_CS_NAND_Pin, GPIO_PIN_RESET);

	/*Configure GPIO pin Output Level */
	HAL_GPIO_WritePin(BLE_CONFIG_GPIO_Port, BLE_CONFIG_Pin, GPIO_PIN_SET);

	/*Configure GPIO pin Output Level */
	HAL_GPIO_WritePin(GPIOB, MCU_GREEN_LED_Pin | MCU_RED_LED_Pin, GPIO_PIN_RESET);

	/*Configure GPIO pin : IMU_IS_INT1_Pin */
	GPIO_InitStruct.Pin = IMU_IS_INT1_Pin;
	GPIO_InitStruct.Mode = GPIO_MODE_IT_RISING;
	GPIO_InitStruct.Pull = GPIO_NOPULL;
	HAL_GPIO_Init(IMU_IS_INT1_GPIO_Port, &GPIO_InitStruct);

	/*Configure GPIO pins : PC3 BLE_P0_0_Pin BLE_P3_6_Pin BLE_UART_RX_IND_Pin
							 BLE_RESET_Pin */
	GPIO_InitStruct.Pin = GPIO_PIN_3 | BLE_P0_0_Pin | BLE_P3_6_Pin | BLE_UART_RX_IND_Pin | BLE_RESET_Pin;
	GPIO_InitStruct.Mode = GPIO_MODE_OUTPUT_PP;
	GPIO_InitStruct.Pull = GPIO_NOPULL;
	GPIO_InitStruct.Speed = GPIO_SPEED_FREQ_LOW;
	HAL_GPIO_Init(GPIOC, &GPIO_InitStruct);

	/*Configure GPIO pin : IMU_IS_INT2_Pin */
	GPIO_InitStruct.Pin = IMU_IS_INT2_Pin;
	GPIO_InitStruct.Mode = GPIO_MODE_IT_RISING;
	GPIO_InitStruct.Pull = GPIO_NOPULL;
	HAL_GPIO_Init(IMU_IS_INT2_GPIO_Port, &GPIO_InitStruct);

	/*Configure GPIO pins : PA2 SPI3_CS_NAND_Pin BLE_CONFIG_Pin */
	GPIO_InitStruct.Pin = GPIO_PIN_2 | SPI3_CS_NAND_Pin | BLE_CONFIG_Pin;
	GPIO_InitStruct.Mode = GPIO_MODE_OUTPUT_PP;
	GPIO_InitStruct.Pull = GPIO_NOPULL;
	GPIO_InitStruct.Speed = GPIO_SPEED_FREQ_LOW;
	HAL_GPIO_Init(GPIOA, &GPIO_InitStruct);

	/*Configure GPIO pin : USER_BUTTON_Pin */
	GPIO_InitStruct.Pin = USER_BUTTON_Pin;
	GPIO_InitStruct.Mode = GPIO_MODE_IT_RISING_FALLING;
	GPIO_InitStruct.Pull = GPIO_PULLDOWN;
	HAL_GPIO_Init(USER_BUTTON_GPIO_Port, &GPIO_InitStruct);

	/*Configure GPIO pins : MCU_I_O_2_Pin MCU_I_O_1_Pin */
	GPIO_InitStruct.Pin = MCU_I_O_2_Pin | MCU_I_O_1_Pin;
	GPIO_InitStruct.Mode = GPIO_MODE_IT_RISING;
	GPIO_InitStruct.Pull = GPIO_NOPULL;
	HAL_GPIO_Init(GPIOB, &GPIO_InitStruct);

	/*Configure GPIO pins : MCU_GREEN_LED_Pin MCU_RED_LED_Pin */
	GPIO_InitStruct.Pin = MCU_GREEN_LED_Pin | MCU_RED_LED_Pin;
	GPIO_InitStruct.Mode = GPIO_MODE_OUTPUT_PP;
	GPIO_InitStruct.Pull = GPIO_NOPULL;
	GPIO_InitStruct.Speed = GPIO_SPEED_FREQ_LOW;
	HAL_GPIO_Init(GPIOB, &GPIO_InitStruct);

	/* EXTI interrupt init*/
	HAL_NVIC_SetPriority(EXTI0_IRQn, 0, 0);
	HAL_NVIC_EnableIRQ(EXTI0_IRQn);

	HAL_NVIC_SetPriority(EXTI4_IRQn, 0, 0);
	HAL_NVIC_EnableIRQ(EXTI4_IRQn);

	HAL_NVIC_SetPriority(EXTI5_IRQn, 0, 0);
	HAL_NVIC_EnableIRQ(EXTI5_IRQn);

	HAL_NVIC_SetPriority(EXTI10_IRQn, 0, 0);
	HAL_NVIC_EnableIRQ(EXTI10_IRQn);

	HAL_NVIC_SetPriority(EXTI13_IRQn, 0, 0);
	HAL_NVIC_EnableIRQ(EXTI13_IRQn);

}

/* USER CODE BEGIN 4 */
/**
 * @brief  Callback function for the timer period elapsed event.
 * This function is triggered by a hardware timer at a fixed interval.
 * @param  htim: Pointer to the timer handle.
 */
void HAL_TIM_PeriodElapsedCallback(TIM_HandleTypeDef *htim) {
	if (htim == &htim2) {
		// Flag that it's time to process. The while(1) loop will handle everything else.
		timer_data_ready_count++;
	}
}

/**
 * @brief  Callback function for external interrupt events (e.g., a button press).
 * This function is triggered by the rising edge of the user button's signal.
 * @param  GPIO_Pin: The pin that triggered the interrupt.
 */
void HAL_GPIO_EXTI_Rising_Callback(uint16_t GPIO_Pin) {
	if (GPIO_Pin == USER_BUTTON_Pin) {
		// A button press can trigger different state transitions depending on the current state.
		switch (current_state) {
		case STATE_IDLE:
			// If the device is idle, start data acquisition.
			erase_memory();
			sample = 0;
			pagina_scritta = 0;
			b = 0;
			memset(NAND_packet, 0xFF, sizeof(NAND_packet));
			current_state = STATE_ACQUISITION;
			LED_On(LED_GREEN); // Provide visual feedback for starting acquisition
			LED_On(LED_RED);
			break;
		case STATE_ACQUISITION:
			// If data acquisition is active, stop it.
			current_state = STATE_IDLE;
			LED_Off(LED_GREEN); // Turn off the LED

			// Flush remaining data to memory
			if (sample > 0) {
				for (uint16_t i = sample; i < 4096; i++)
					NAND_packet[i] = 0xFF;
				sample = 4096;
				write_memory();
			}

			LED_Off(LED_RED);
			break;
		case STATE_USB_CONNECTED:
			// If USB is connected, start the download process.
			exit_flag = 0;
			current_state = STATE_DOWNLOAD;
			break;
		default:
			// Do nothing for other states (e.g., if button is pressed during DOWNLOAD).
			break;
		}
	}
}

// Falling Edge when User Button is not pressed
void HAL_GPIO_EXTI_Falling_Callback(uint16_t GPIO_Pin) {
	if (GPIO_Pin == USER_BUTTON_Pin) {
	}
}

/* USER CODE END 4 */

void Error_Handler(void) {
	__disable_irq();
	while (1) {
	}
}
